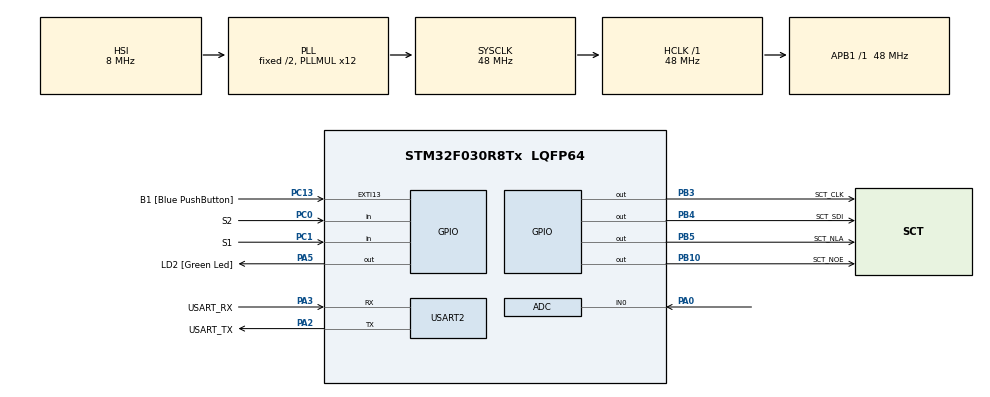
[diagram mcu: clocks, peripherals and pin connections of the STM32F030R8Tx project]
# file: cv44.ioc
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ADC.ContinuousConvMode=ENABLE
ADC.Overrun=ADC_OVR_DATA_OVERWRITTEN
ADC.SamplingTime=ADC_SAMPLETIME_239CYCLES_5
Mcu.Family=STM32F0
Mcu.Name=STM32F030R8Tx
Mcu.Package=LQFP64
NVIC.ADC1_IRQn=true\:0\:0\:false\:false\:true\:true\:true\:true
PA0.Mode=IN0
PA0.Signal=ADC_IN0
PA13.GPIO_Label=TMS
PA13.Mode=Serial_Wire
PA13.Signal=SYS_SWDIO
PA14.GPIO_Label=TCK
PA14.Mode=Serial_Wire
PA14.Signal=SYS_SWCLK
PA2.GPIO_Label=USART_TX
PA2.GPIO_Mode=GPIO_MODE_AF_PP
PA2.GPIO_PuPd=GPIO_NOPULL
PA2.GPIO_Speed=GPIO_SPEED_FREQ_LOW
PA2.Mode=Asynchronous
PA2.Signal=USART2_TX
PA3.GPIO_Label=USART_RX
PA3.GPIO_Mode=GPIO_MODE_AF_PP
PA3.GPIO_PuPd=GPIO_NOPULL
PA3.GPIO_Speed=GPIO_SPEED_FREQ_LOW
PA3.Mode=Asynchronous
PA3.Signal=USART2_RX
PA5.GPIO_Label=LD2 [Green Led]
PA5.GPIO_Mode=GPIO_MODE_OUTPUT_PP
PA5.GPIO_PuPd=GPIO_NOPULL
PA5.GPIO_Speed=GPIO_SPEED_FREQ_LOW
PA5.Signal=GPIO_Output
PB10.GPIO_Label=SCT_NOE
PB10.Signal=GPIO_Output
PB3.GPIO_Label=SCT_CLK
PB3.Signal=GPIO_Output
PB4.GPIO_Label=SCT_SDI
PB4.Signal=GPIO_Output
PB5.GPIO_Label=SCT_NLA
PB5.Signal=GPIO_Output
PC0.GPIO_Label=S2
PC0.GPIO_PuPd=GPIO_PULLUP
PC0.Signal=GPIO_Input
PC1.GPIO_Label=S1
PC1.GPIO_PuPd=GPIO_PULLUP
PC1.Signal=GPIO_Input
PC13.GPIO_Label=B1 [Blue PushButton]
PC13.GPIO_ModeDefaultEXTI=GPIO_MODE_IT_FALLING
PC13.Signal=GPXTI13
PC14-OSC32_IN.Mode=LSE-External-Oscillator
PC14-OSC32_IN.Signal=RCC_OSC32_IN
PC15-OSC32_OUT.Mode=LSE-External-Oscillator
PC15-OSC32_OUT.Signal=RCC_OSC32_OUT
PF0-OSC_IN.Mode=HSE-External-Clock-Source
PF0-OSC_IN.Signal=RCC_OSC_IN
PF1-OSC_OUT.Signal=RCC_OSC_OUT
ProjectManager.HeapSize=0x200
ProjectManager.StackSize=0x400
ProjectManager.TargetToolchain=STM32CubeIDE
RCC.AHBFreq_Value=48000000
RCC.APB1Freq_Value=48000000
RCC.APB1TimFreq_Value=48000000
RCC.HCLKFreq_Value=48000000
RCC.PLLMUL=RCC_PLL_MUL12
RCC.SYSCLKFreq_VALUE=48000000
RCC.SYSCLKSource=RCC_SYSCLKSOURCE_PLLCLK
USART2.VirtualMode-Asynchronous=VM_ASYNC
VP_ADC_TempSens_Input.Mode=IN-TempSens
VP_ADC_Vref_Input.Mode=IN-Vrefint
board=NUCLEO-F030R8

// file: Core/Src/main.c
/* USER CODE BEGIN Header */
/**
  ******************************************************************************
  * @file           : main.c
  * @brief          : Main program body
  ******************************************************************************
  * @attention
  *
  * Copyright (c) 2024 STMicroelectronics.
  * All rights reserved.
  *
  * This software is licensed under terms that can be found in the LICENSE file
  * in the root directory of this software component.
  * If no LICENSE file comes with this software, it is provided AS-IS.
  *
  ******************************************************************************
  */
/* USER CODE END Header */
#include "main.h"

/* USER CODE BEGIN Includes */
#include "sct.h"
/* USER CODE END Includes */

/* USER CODE BEGIN PD */
#define ADC_Q			12
#define TIME_WAIT   	1000
#define SAMPLE_TIME     5
#define TEMP110_CAL_ADDR ((uint16_t*) ((uint32_t) 0x1FFFF7C2))
#define TEMP30_CAL_ADDR ((uint16_t*) ((uint32_t) 0x1FFFF7B8))
#define VREFINT_CAL_ADDR ((uint16_t*) ((uint32_t) 0x1FFFF7BA))
/* USER CODE END PD */

ADC_HandleTypeDef hadc;

UART_HandleTypeDef huart2;

/* USER CODE BEGIN PV */
static uint32_t off_time;
static volatile uint32_t raw_pot, raw_temp, raw_volt;
static enum { SHOW_POT, SHOW_VOLT, SHOW_TEMP } state = SHOW_POT;
/* USER CODE END PV */

void SystemClock_Config(void);
static void MX_GPIO_Init(void);
static void MX_USART2_UART_Init(void);
static void MX_ADC_Init(void);

/* USER CODE BEGIN 0 */
void HAL_ADC_ConvCpltCallback(ADC_HandleTypeDef *hadc) {
	static uint32_t avg_pot, channel;

	if (channel == 0) {
		raw_pot = avg_pot >> ADC_Q;
		avg_pot -= raw_pot;
		avg_pot += HAL_ADC_GetValue(hadc);
	} else if (channel == 1) {
		raw_temp = HAL_ADC_GetValue(hadc);
	} else {
		raw_volt = HAL_ADC_GetValue(hadc);
	}

	if (__HAL_ADC_GET_FLAG(hadc,ADC_FLAG_EOS)) channel = 0;
	else channel++;
}

static void button1_reg(void) {
	uint32_t tick = HAL_GetTick();
	static uint32_t last_button_tick;

	// Sampling button
	if (tick > last_button_tick + SAMPLE_TIME) {

		last_button_tick = tick;
		// Enter every 5ms
		static uint16_t debounce = 0xFFFF;

		uint32_t read_s1 = HAL_GPIO_ReadPin(S1_GPIO_Port, S1_Pin);

		debounce = debounce << 1;
		if (read_s1) debounce |= 0x0001;

		if (debounce == 0x8000) {
			off_time = tick + TIME_WAIT;
			state = SHOW_VOLT;
		}

		// Disable
		if (tick > off_time) {
			state = SHOW_POT;
		}
	}
}

static void button2_reg() {
	uint32_t tick = HAL_GetTick();
	static uint32_t last_button_tick;

	// Sampling button
	if (tick > last_button_tick + SAMPLE_TIME) {

		last_button_tick = tick;
		// Enter every 5ms
		static uint16_t debounce = 0xFFFF;

		uint32_t read_s2 = HAL_GPIO_ReadPin(S2_GPIO_Port, S2_Pin);

		debounce = debounce << 1;
		if (read_s2) debounce |= 0x0001;
		if (debounce == 0x8000) {
			off_time = tick + TIME_WAIT;
			state = SHOW_TEMP;
		}

		// Disable
		if (tick > off_time) {
			state = SHOW_POT;
		}
	}
}
/* USER CODE END 0 */

int main(void)
{

  /* MCU Configuration--------------------------------------------------------*/

  /* Reset of all peripherals, Initializes the Flash interface and the Systick. */
  HAL_Init();

  /* Configure the system clock */
  SystemClock_Config();

  /* Initialize all configured peripherals */
  MX_GPIO_Init();
  MX_USART2_UART_Init();
  MX_ADC_Init();
  /* USER CODE BEGIN 2 */
  sct_init();
  HAL_ADCEx_Calibration_Start(&hadc);
  HAL_ADC_Start_IT(&hadc);
  /* USER CODE END 2 */

  /* Infinite loop */
  /* USER CODE BEGIN WHILE */
  while (1)
  {
	  uint32_t voltage = 330 * (*VREFINT_CAL_ADDR) / raw_volt;
	  int32_t temperature = (raw_temp - (int32_t)(*TEMP30_CAL_ADDR));
	  temperature = temperature * (int32_t)(110 - 30);
	  temperature = temperature / (int32_t)(*TEMP110_CAL_ADDR - *TEMP30_CAL_ADDR);
	  temperature = temperature + 30;

	  button1_reg();
	  button2_reg();

	  switch (state) {
	  case SHOW_POT:
		  sct_value(raw_pot * 500 / 4096, raw_pot * 9 / 4096);
		  break;
	  case SHOW_VOLT:
		  sct_value(voltage, 0);
		  break;
	  case SHOW_TEMP:
		  sct_value(temperature, 0);
		  break;
	  }
    /* USER CODE END WHILE */

  }
}

void SystemClock_Config(void)
{
  RCC_OscInitTypeDef RCC_OscInitStruct = {0};
  RCC_ClkInitTypeDef RCC_ClkInitStruct = {0};

  /** Initializes the RCC Oscillators according to the specified parameters
  * in the RCC_OscInitTypeDef structure.
  */
  RCC_OscInitStruct.OscillatorType = RCC_OSCILLATORTYPE_HSI|RCC_OSCILLATORTYPE_HSI14;
  RCC_OscInitStruct.HSIState = RCC_HSI_ON;
  RCC_OscInitStruct.HSI14State = RCC_HSI14_ON;
  RCC_OscInitStruct.HSICalibrationValue = RCC_HSICALIBRATION_DEFAULT;
  RCC_OscInitStruct.HSI14CalibrationValue = 16;
  RCC_OscInitStruct.PLL.PLLState = RCC_PLL_ON;
  RCC_OscInitStruct.PLL.PLLSource = RCC_PLLSOURCE_HSI;
  RCC_OscInitStruct.PLL.PLLMUL = RCC_PLL_MUL12;
  RCC_OscInitStruct.PLL.PREDIV = RCC_PREDIV_DIV1;
  if (HAL_RCC_OscConfig(&RCC_OscInitStruct) != HAL_OK)
  {
    Error_Handler();
  }

  /** Initializes the CPU, AHB and APB buses clocks
  */
  RCC_ClkInitStruct.ClockType = RCC_CLOCKTYPE_HCLK|RCC_CLOCKTYPE_SYSCLK
                              |RCC_CLOCKTYPE_PCLK1;
  RCC_ClkInitStruct.SYSCLKSource = RCC_SYSCLKSOURCE_PLLCLK;
  RCC_ClkInitStruct.AHBCLKDivider = RCC_SYSCLK_DIV1;
  RCC_ClkInitStruct.APB1CLKDivider = RCC_HCLK_DIV1;

  if (HAL_RCC_ClockConfig(&RCC_ClkInitStruct, FLASH_LATENCY_1) != HAL_OK)
  {
    Error_Handler();
  }
}

static void MX_ADC_Init(void)
{

  ADC_ChannelConfTypeDef sConfig = {0};

  /** Configure the global features of the ADC (Clock, Resolution, Data Alignment and number of conversion)
  */
  hadc.Instance = ADC1;
  hadc.Init.ClockPrescaler = ADC_CLOCK_ASYNC_DIV1;
  hadc.Init.Resolution = ADC_RESOLUTION_12B;
  hadc.Init.DataAlign = ADC_DATAALIGN_RIGHT;
  hadc.Init.ScanConvMode = ADC_SCAN_DIRECTION_FORWARD;
  hadc.Init.EOCSelection = ADC_EOC_SINGLE_CONV;
  hadc.Init.LowPowerAutoWait = DISABLE;
  hadc.Init.LowPowerAutoPowerOff = DISABLE;
  hadc.Init.ContinuousConvMode = ENABLE;
  hadc.Init.DiscontinuousConvMode = DISABLE;
  hadc.Init.ExternalTrigConv = ADC_SOFTWARE_START;
  hadc.Init.ExternalTrigConvEdge = ADC_EXTERNALTRIGCONVEDGE_NONE;
  hadc.Init.DMAContinuousRequests = DISABLE;
  hadc.Init.Overrun = ADC_OVR_DATA_OVERWRITTEN;
  if (HAL_ADC_Init(&hadc) != HAL_OK)
  {
    Error_Handler();
  }

  /** Configure for the selected ADC regular channel to be converted.
  */
  sConfig.Channel = ADC_CHANNEL_0;
  sConfig.Rank = ADC_RANK_CHANNEL_NUMBER;
  sConfig.SamplingTime = ADC_SAMPLETIME_239CYCLES_5;
  if (HAL_ADC_ConfigChannel(&hadc, &sConfig) != HAL_OK)
  {
    Error_Handler();
  }

  /** Configure for the selected ADC regular channel to be converted.
  */
  sConfig.Channel = ADC_CHANNEL_TEMPSENSOR;
  if (HAL_ADC_ConfigChannel(&hadc, &sConfig) != HAL_OK)
  {
    Error_Handler();
  }

  /** Configure for the selected ADC regular channel to be converted.
  */
  sConfig.Channel = ADC_CHANNEL_VREFINT;
  if (HAL_ADC_ConfigChannel(&hadc, &sConfig) != HAL_OK)
  {
    Error_Handler();
  }

}

static void MX_USART2_UART_Init(void)
{

  huart2.Instance = USART2;
  huart2.Init.BaudRate = 38400;
  huart2.Init.WordLength = UART_WORDLENGTH_8B;
  huart2.Init.StopBits = UART_STOPBITS_1;
  huart2.Init.Parity = UART_PARITY_NONE;
  huart2.Init.Mode = UART_MODE_TX_RX;
  huart2.Init.HwFlowCtl = UART_HWCONTROL_NONE;
  huart2.Init.OverSampling = UART_OVERSAMPLING_16;
  huart2.Init.OneBitSampling = UART_ONE_BIT_SAMPLE_DISABLE;
  huart2.AdvancedInit.AdvFeatureInit = UART_ADVFEATURE_NO_INIT;
  if (HAL_UART_Init(&huart2) != HAL_OK)
  {
    Error_Handler();
  }

}

static void MX_GPIO_Init(void)
{
  GPIO_InitTypeDef GPIO_InitStruct = {0};

  /* GPIO Ports Clock Enable */
  __HAL_RCC_GPIOC_CLK_ENABLE();
  __HAL_RCC_GPIOF_CLK_ENABLE();
  __HAL_RCC_GPIOA_CLK_ENABLE();
  __HAL_RCC_GPIOB_CLK_ENABLE();

  /*Configure GPIO pin Output Level */
  HAL_GPIO_WritePin(LD2_GPIO_Port, LD2_Pin, GPIO_PIN_RESET);

  /*Configure GPIO pin Output Level */
  HAL_GPIO_WritePin(GPIOB, SCT_NOE_Pin|SCT_CLK_Pin|SCT_SDI_Pin|SCT_NLA_Pin, GPIO_PIN_RESET);

  /*Configure GPIO pin : B1_Pin */
  GPIO_InitStruct.Pin = B1_Pin;
  GPIO_InitStruct.Mode = GPIO_MODE_IT_FALLING;
  GPIO_InitStruct.Pull = GPIO_NOPULL;
  HAL_GPIO_Init(B1_GPIO_Port, &GPIO_InitStruct);

  /*Configure GPIO pins : S2_Pin S1_Pin */
  GPIO_InitStruct.Pin = S2_Pin|S1_Pin;
  GPIO_InitStruct.Mode = GPIO_MODE_INPUT;
  GPIO_InitStruct.Pull = GPIO_PULLUP;
  HAL_GPIO_Init(GPIOC, &GPIO_InitStruct);

  /*Configure GPIO pin : LD2_Pin */
  GPIO_InitStruct.Pin = LD2_Pin;
  GPIO_InitStruct.Mode = GPIO_MODE_OUTPUT_PP;
  GPIO_InitStruct.Pull = GPIO_NOPULL;
  GPIO_InitStruct.Speed = GPIO_SPEED_FREQ_LOW;
  HAL_GPIO_Init(LD2_GPIO_Port, &GPIO_InitStruct);

  /*Configure GPIO pins : SCT_NOE_Pin SCT_CLK_Pin SCT_SDI_Pin SCT_NLA_Pin */
  GPIO_InitStruct.Pin = SCT_NOE_Pin|SCT_CLK_Pin|SCT_SDI_Pin|SCT_NLA_Pin;
  GPIO_InitStruct.Mode = GPIO_MODE_OUTPUT_PP;
  GPIO_InitStruct.Pull = GPIO_NOPULL;
  GPIO_InitStruct.Speed = GPIO_SPEED_FREQ_LOW;
  HAL_GPIO_Init(GPIOB, &GPIO_InitStruct);

}

void Error_Handler(void)
{
  __disable_irq();
  while (1)
  {
  }
}
